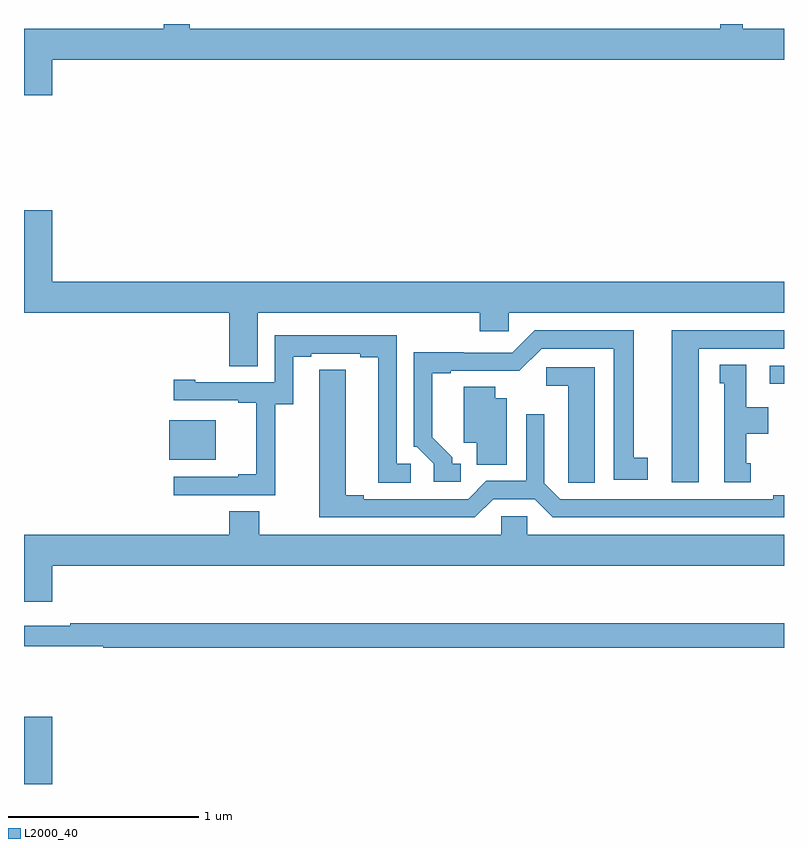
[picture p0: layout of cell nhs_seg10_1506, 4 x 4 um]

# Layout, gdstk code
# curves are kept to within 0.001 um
import gdstk
lib = gdstk.Library(unit=1e-6, precision=1e-09)
def R(c, l, rs):  # rectangles x0, y0, x1, y1
    for r in rs: c.add(gdstk.rectangle(r[:2], r[2:], *l))
def P(c, l, *ps):  # polygons
    for p in ps: c.add(gdstk.Polygon(p, *l))
L2000_40 = (2000, 40)

nhs_seg10_1506 = lib.new_cell('nhs_seg10_1506')
R(nhs_seg10_1506, L2000_40, [(189,1300.5,189.148,1300.855), (189.764,1302.206,190.009,1302.415), (192.924,1302.606,193,1302.702)])
P(nhs_seg10_1506, L2000_40, [(189.148,1304.312),(193,1304.312),(193,1304.476),(192.782,1304.476),(192.782,1304.5),(192.665,1304.5),(192.665,1304.476),(189.873,1304.476),(189.873,1304.5),(189.735,1304.5),(189.735,1304.476),(189,1304.476),(189,1304.124),(189.148,1304.124)],
  [(190.231,1302.98),(191.399,1302.98),(191.399,1302.882),(191.55,1302.882),(191.55,1302.98),(193,1302.98),(193,1303.144),(189.148,1303.144),(189.148,1303.519),(189,1303.519),(189,1302.98),(190.079,1302.98),(190.079,1302.7),(190.231,1302.7)],
  [(192.55,1302.792),(193,1302.792),(193,1302.888),(192.41,1302.888),(192.41,1302.087),(192.55,1302.087)],
  [(191.299,1302.186),(191.254,1302.186),(191.254,1302.221),(191.149,1302.326),(191.149,1302.663),(191.245,1302.663),(191.245,1302.675),(191.606,1302.674),(191.724,1302.792),(192.104,1302.792),(192.104,1302.102),(192.283,1302.102),(192.283,1302.218),(192.208,1302.218),(192.208,1302.888),(191.688,1302.888),(191.571,1302.771),(191.315,1302.771),(191.315,1302.773),(191.052,1302.773),(191.052,1302.276),(191.067,1302.276),(191.157,1302.186),(191.157,1302.09),(191.299,1302.09)],
  [(190.323,1302.499),(190.417,1302.499),(190.417,1302.75),(190.513,1302.75),(190.513,1302.765),(190.769,1302.765),(190.769,1302.745),(190.865,1302.745),(190.865,1302.085),(191.035,1302.085),(191.035,1302.186),(190.962,1302.186),(190.962,1302.861),(190.32,1302.861),(190.32,1302.615),(189.901,1302.615),(189.901,1302.628),(189.789,1302.628),(189.789,1302.519),(190.127,1302.519),(190.127,1302.507),(190.223,1302.507),(190.223,1302.13),(190.127,1302.13),(190.127,1302.117),(189.789,1302.117),(189.789,1302.021),(190.323,1302.021)],
  [(192.826,1302.189),(192.802,1302.189),(192.802,1302.344),(192.916,1302.344),(192.916,1302.484),(192.802,1302.484),(192.802,1302.707),(192.662,1302.707),(192.662,1302.609),(192.686,1302.609),(192.686,1302.087),(192.826,1302.087)],
  [(192.004,1302.693),(191.748,1302.693),(191.748,1302.596),(191.864,1302.596),(191.864,1302.193),(191.865,1302.193),(191.865,1302.085),(192.004,1302.085)],
  [(191.469,1302),(191.687,1302),(191.783,1301.904),(193,1301.904),(193,1302.02),(192.944,1302.02),(192.944,1302),(191.823,1302),(191.739,1302.084),(191.739,1302.445),(191.643,1302.445),(191.643,1302.096),(191.433,1302.096),(191.337,1302),(190.789,1302),(190.789,1302.02),(190.693,1302.02),(190.693,1302.68),(190.554,1302.68),(190.553,1301.904),(191.373,1301.904)],
  [(191.542,1302.529),(191.479,1302.529),(191.479,1302.59),(191.315,1302.59),(191.315,1302.296),(191.384,1302.296),(191.384,1302.181),(191.542,1302.181)],
  [(189.148,1301.648),(193,1301.648),(193,1301.812),(191.649,1301.812),(191.649,1301.91),(191.511,1301.91),(191.511,1301.812),(190.239,1301.812),(190.239,1301.936),(190.079,1301.936),(190.079,1301.812),(189,1301.812),(189,1301.46),(189.148,1301.46)],
  [(193,1301.347),(189.244,1301.347),(189.244,1301.334),(189,1301.334),(189,1301.226),(189.416,1301.226),(189.416,1301.218),(193,1301.218)])

lib.write_gds('nhs_seg10_1506.gds')
